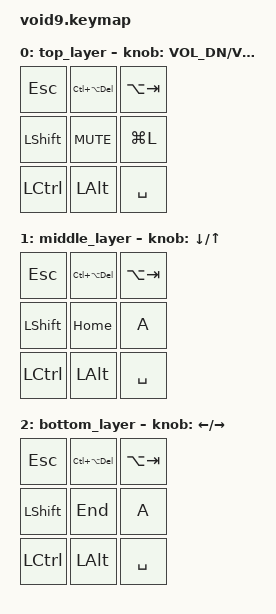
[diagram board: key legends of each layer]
  #include <behaviors.dtsi>
  #include <dt-bindings/zmk/keys.h>
  #include <dt-bindings/zmk/bt.h>
  #include <dt-bindings/zmk/ext_power.h>
  
  #define TOP 0
  #define MIDDLE 1
  #define BOTTOM 2
  / {
    combos {
            compatible = "zmk,combos";

              combo_bootloader{
                bindings = <&bootloader>;
                key-positions = <0 8>;
                layers = <0 1 2>;
              };
              combo_top{
                bindings = <&to TOP>;
                key-positions = <0 2>;
                layers = <0 1 2>;
              };
              combo_middle{
                bindings = <&to MIDDLE>;
                key-positions = <3 5>;
                layers = <0 1 2>;
              };
              combo_bottom{
                bindings = <&to BOTTOM>;
                key-positions = <6 8>;
                layers = <0 1 2>;
              };
              combo_rcd {
                bindings = <&rcd_macro>;
                key-positions = <0 1>;
                require-prior-idle-ms = <50>;
              };
              combo_rtc {
                bindings = <&rtc_macro>;
                key-positions = <1 2>;
              };
              wes_combo {
                bindings = <&wes_macro>;
                key-positions = <5 8>;
              };
    };
  };
/ {
    macros {
        rcd_macro: rcd_macro {
            compatible = "zmk,behavior-macro";
            #binding-cells = <0>;
            bindings = <&kp R &kp I &kp T &kp C &kp H &kp I &kp E &kp UNDER &kp C &kp H &kp R &kp I &kp S &kp T &kp I &kp A &kp N &kp UNDER &kp D &kp AT &kp C &kp A &kp T &kp DOT &kp C &kp O &kp M>;
            label = "RCD_MACRO";
            wait-ms = <30>;
            tap-ms = <50>;
        };
        rtc_macro: rtc_macro {
            compatible = "zmk,behavior-macro";
            #binding-cells = <0>;
            bindings = <&none &kp R &kp I &kp T &kp C &kp H &kp C &kp D>;
            label = "RTC_MACRO";
        };
        wes_macro: wes_macro {
            compatible = "zmk,behavior-macro";
            #binding-cells = <0>;
            bindings = <&none &kp W &kp E &kp DOT &kp E &kp A &kp T &kp DOT &kp S &kp P &kp A &kp M &kp A &kp L &kp O &kp T &kp AT &kp G &kp M &kp A &kp I &kp L &kp DOT &kp C &kp O &kp M>;
            label = "WES_MACRO";
        };
    };
  };
/ {
    keymap {
        compatible = "zmk,keymap";

        top_layer {
// ┌─────────┬─────────┬─────────┐
// |   ESC   |  C/A/D  | Alt/Tab |
// ├─────────┼─────────┼─────────┤
// |  SHFT   |   MUTE  |  CTRL/L |  -(Vol)+
// ├─────────┼─────────┼─────────┤
// |  CTRL   |   ALT   |  Space  | 
// └─────────┴─────────┴─────────┘
            bindings = < 
                        &kp ESC     &kp LC(LA(DEL))   &kp LA(TAB)  
                        &kp LSHFT   &kp C_MUTE        &kp LG(L)    
                        &kp LCTRL   &kp LALT          &kp SPACE
                        >;

              sensor-bindings = <&inc_dec_kp C_VOL_DN C_VOL_UP >;
            };

            middle_layer {
// ┌─────────┬─────────┬─────────┐
// |   ESC   |  C/A/D  | Alt/Tab |
// ├─────────┼─────────┼─────────┤
// |  SHFT   |  HOME   | CTRL/L  | ↑(Arrow)↓
// ├─────────┼─────────┼─────────┤
// |  CTRL   |   ALT   |  Space  | 
// └─────────┴─────────┴─────────┘
            bindings = < 
                        &kp ESC     &kp LC(LA(DEL))   &kp LA(TAB)  
                        &kp LSHFT   &kp HOME          &kp A    
                        &kp LCTRL   &kp LALT          &kp SPACE
                        >;

              sensor-bindings = <&inc_dec_kp DOWN UP>;
            };

        bottom_layer {
// ┌─────────┬─────────┬─────────┐
// |   ESC   |  C/A/D  | Alt/Tab |
// ├─────────┼─────────┼─────────┤
// |  SHFT   |   END   | CTRL/L  | ←(Arrow)→
// ├─────────┼─────────┼─────────┤
// |  CTRL   |   ALT   |  Space  | 
// -------------------------------
            bindings = < 
                        &kp ESC     &kp LC(LA(DEL))   &kp LA(TAB)  
                        &kp LSHFT   &kp END           &kp A    
                        &kp LCTRL   &kp LALT          &kp SPACE
                        >;

            sensor-bindings = <&inc_dec_kp LEFT RIGHT>;
          };
      };
};
